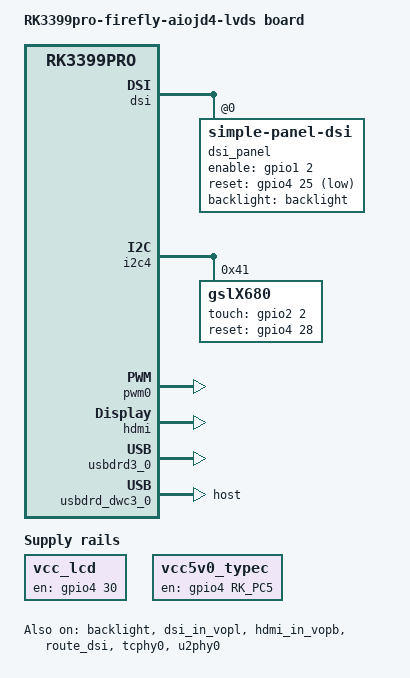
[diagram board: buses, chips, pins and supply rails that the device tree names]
/dts-v1/;
#include "rk3399pro-firefly-port.dtsi"
#include <dt-bindings/display/media-bus-format.h>

/ {
	model = "RK3399pro-firefly-aiojd4-lvds board";
	compatible = "rockchip,rk3399pro-firefly-aiojd4", "rockchip,rk3399pro";

	vcc_lcd: vcc-lcd {
		compatible = "regulator-fixed";
        	enable-active-high;
        	regulator-always-on;
		regulator-boot-on;
		gpio = <&gpio4 30 GPIO_ACTIVE_HIGH>;
		pinctrl-names = "default";
		regulator-name = "vcc_lcd";
        	pinctrl-0 = <&lcd_panel_lcd_en>;
	};

	vcc5v0_typec: vcc5v0_typec {
                compatible = "regulator-fixed";
                enable-active-high;
                gpio = <&gpio4 RK_PC5 GPIO_ACTIVE_HIGH>;
                pinctrl-names = "default";
                pinctrl-0 = <&host_typec>;
                regulator-name = "vcc5v0_typec";
                regulator-always-on;
        };
};

&backlight {
        status = "okay";
        pwms = <&pwm0 0 25000 1>; 
        enable-gpios = <&gpio1 21 GPIO_ACTIVE_HIGH>;
        default-brightness-level = <200>;
        polarity = <1>;
        brightness-levels = </*
                          0   1   2   3   4   5   6   7
                          8   9  10  11  12  13  14  15
                         16  17  18  19  20  21  22  23
                         24  25  26  27  28  29  30  31
                         32  33  34  35*/36  37  38  39
                         40  41  42  43  44  45  46  47
                         48  49  50  51  52  53  54  55
                         56  57  58  59  60  61  62  63
                         64  65  66  67  68  69  70  71
                         72  73  74  75  76  77  78  79
                         80  81  82  83  84  85  86  87
                         88  89  90  91  92  93  94  95
                         96  97  98  99 100 101 102 103
                        104 105 106 107 108 109 110 111
                        112 113 114 115 116 117 118 119
                        120 121 122 123 124 125 126 127
                        128 129 130 131 132 133 134 135
                        136 137 138 139 140 141 142 143
                        144 145 146 147 148 149 150 151
                        152 153 154 155 156 157 158 159
                        160 161 162 163 164 165 166 167
                        168 169 170 171 172 173 174 175
                        176 177 178 179 180 181 182 183
                        184 185 186 187 188 189 190 191
                        192 193 194 195 196 197 198 199
                        200 201 202 203 204 205 206 207
                        208 209 210 211 212 213 214 215
                        216 217 218 219 220 221 222 223
                        224 225 226 227 228 229 230 231
                        232 233 234 235 236 237 238 239
                        240 241 242 243 244 245 246 247
                        248 249 250 251 252 253 254 255>; 
};

&dsi {
	status = "okay";
	rockchip,lane-rate = <800>;
	dsi_panel: panel {
		compatible ="simple-panel-dsi";
		reg = <0>;
		backlight = <&backlight>;
		enable-gpios = <&gpio1 2 GPIO_ACTIVE_HIGH>;
		reset-gpios = <&gpio4 25 GPIO_ACTIVE_LOW>;
                pinctrl-0 = <&lcd_panel_pwr_en &lcd_panel_reset >;
		dsi,flags = <(MIPI_DSI_MODE_VIDEO | MIPI_DSI_MODE_VIDEO_BURST | MIPI_DSI_MODE_LPM | MIPI_DSI_MODE_EOT_PACKET)>;
		dsi,format = <MIPI_DSI_FMT_RGB888>;
		bus-format = <MEDIA_BUS_FMT_RGB666_1X18>;
		dsi,lanes = <4>;
		dsi,channel = <0>;
		enable-delay-ms = <35>;
		prepare-delay-ms = <6>;
		unprepare-delay-ms = <0>;
		disable-delay-ms = <20>;
		size,width = <120>;
		size,height = <170>;
		status = "okay";

		panel-init-sequence = [
			29 02 06 3C 01 09 00 07 00
			29 02 06 14 01 06 00 00 00
			29 02 06 64 01 0B 00 00 00
			29 02 06 68 01 0B 00 00 00
			29 02 06 6C 01 0B 00 00 00
			29 02 06 70 01 0B 00 00 00
			29 02 06 34 01 1F 00 00 00
			29 02 06 10 02 1F 00 00 00
			29 02 06 04 01 01 00 00 00
			29 02 06 04 02 01 00 00 00
			29 02 06 50 04 20 01 F0 03
			29 02 06 54 04 19 00 5A 00
			29 02 06 58 04 20 03 24 00
			29 02 06 5C 04 0A 00 19 00
			29 02 06 60 04 00 05 0A 00
			29 02 06 64 04 01 00 00 00
			29 02 06 A0 04 06 80 44 00

			29 02 06 A0 04 06 80 04 00
			29 02 06 04 05 04 00 00 00
			29 02 06 80 04 00 01 02 03
			29 02 06 84 04 04 07 05 08
			29 02 06 88 04 09 0A 0E 0F
			29 02 06 8C 04 0B 0C 0D 10
			29 02 06 90 04 16 17 11 12
			29 02 06 94 04 13 14 15 1B
			29 02 06 98 04 18 19 1A 06
			/*
			29 02 06 80 04 1A 1A 1A 1A
			29 02 06 84 04 1A 19 1A 1A
			29 02 06 88 04 18 18 19 19
			29 02 06 8C 04 18 18 18 18
			29 02 06 90 04 19 19 18 12
			29 02 06 94 04 13 14 15 19
			29 02 06 98 04 18 19 1A 19
			*/
			29 02 06 9C 04 31 04 00 00
		];

		panel-exit-sequence = [
			05 05 01 28
			05 78 01 10
		];

		disp_timings: display-timings {
			native-mode = <&timing0>;
			timing0: timing0 {
				clock-frequency = <166000000>;
				hactive = <800>;
				vactive = <1280>;
				hsync-len = <10>;
				hback-porch = <100>;
				hfront-porch = <1580>;
				vsync-len = <10>;
				vback-porch = <25>;
				vfront-porch = <10>;
				hsync-active = <0>;
				vsync-active = <0>;
				de-active = <0>;
				pixelclk-active = <0>;
			};
		};
	};
};

&i2c4 {
        status = "okay";
        gslx680: gslx680@41 {                                                                                                                  
                compatible = "gslX680";
                reg = <0x41>;
                screen_max_x = <800>;
                screen_max_y = <1280>;
                touch-gpio = <&gpio2 2 IRQ_TYPE_LEVEL_LOW>;
                reset-gpio = <&gpio4 28 GPIO_ACTIVE_HIGH>;
                flip-x = <1>;
                flip-y = <0>;
                swap-xy = <0>;
                gsl,fw = <1>;
        };


};

&pwm0 {
        status = "okay";
};

&dsi_in_vopl {
        status = "okay";
};

&dsi_in_vopb {
        status = "disabled";
};

&hdmi {
        status = "okay";
};

&hdmi_in_vopb {
        status = "okay";
};

&hdmi_in_vopl {
	status = "disabled";
};

&dp_in_vopb {
	status = "disabled";
};

&route_dsi {
	status = "okay";
};

&route_hdmi {
        status = "disabled";
        logo,mode = "center";
};

&vopb {
    assigned-clocks = <&cru DCLK_VOP0_DIV>;
    assigned-clock-parents = <&cru PLL_VPLL>;
};
&vopl {
    assigned-clocks = <&cru DCLK_VOP1_DIV>;
    assigned-clock-parents = <&cru PLL_CPLL>;
};

&pinctrl {

	lcd-panel {
		lcd_panel_reset: lcd-panel-reset {
			rockchip,pins = <4 25 RK_FUNC_GPIO &pcfg_pull_down>;
		};

		lcd_panel_pwr_en: lcd-panel-pwr-en {
			rockchip,pins = <1 2 RK_FUNC_GPIO &pcfg_pull_down>;
		};

		lcd_panel_lcd_en:lcd_panel_lcd_en {
			rockchip,pins = <4 30 RK_FUNC_GPIO &pcfg_pull_down>;
		};

    };


};


&cdn_dp {
	status = "disabled";
	extcon = <&fusb0>;
	phys = <&tcphy0_dp>;
};

&fusb0 {
    status = "disabled";
};

&tcphy0 {
    /delete-property/ extcon;
    status = "okay";
};

&u2phy0 {
	status = "okay";
	/delete-property/ extcon;

	u2phy0_otg: otg-port {
		    status = "okay";
	    };  

	u2phy0_host: host-port {
		     phy-supply = <&vcc5v0_host>;
		     status = "okay";
	     };
};

&usbdrd3_0 {
    status = "okay";
    /delete-property/ extcon;
};

&usbdrd_dwc3_0 {
        status = "okay";
       dr_mode = "host";
 };
